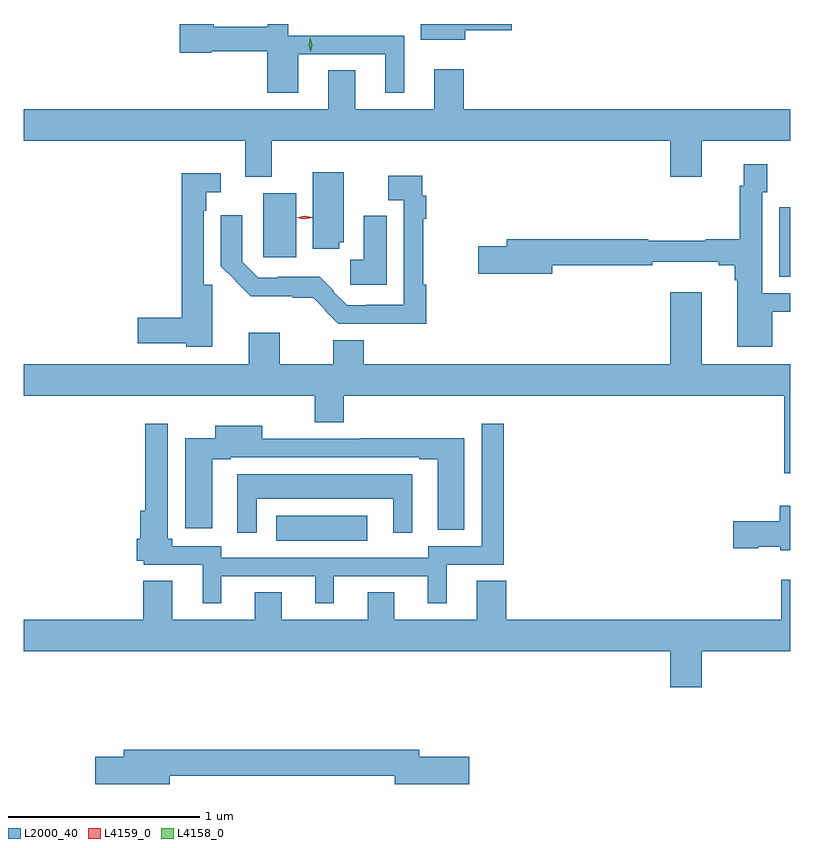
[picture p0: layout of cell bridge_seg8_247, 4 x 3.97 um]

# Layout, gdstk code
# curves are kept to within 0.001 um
import gdstk
lib = gdstk.Library(unit=1e-6, precision=1e-09)
def R(c, l, rs):  # rectangles x0, y0, x1, y1
    for r in rs: c.add(gdstk.rectangle(r[:2], r[2:], *l))
def P(c, l, *ps):  # polygons
    for p in ps: c.add(gdstk.Polygon(p, *l))
L2000_40 = (2000, 40)
L4158_0 = (4158, 0)
L4159_0 = (4159, 0)

bridge_seg8_247 = lib.new_cell('bridge_seg8_247')
R(bridge_seg8_247, L2000_40, [(282.831,1089.104,283.306,1089.235), (285.455,1090.48,285.513,1090.843)])
P(bridge_seg8_247, L2000_40, [(283.816,1091.767),(284.059,1091.767),(284.059,1091.8),(283.586,1091.8),(283.586,1091.717),(283.816,1091.717)],
  [(282.946,1091.643),(283.4,1091.643),(283.4,1091.442),(283.498,1091.442),(283.498,1091.739),(282.894,1091.739),(282.894,1091.8),(282.786,1091.8),(282.786,1091.786),(282.504,1091.786),(282.504,1091.8),(282.326,1091.8),(282.326,1091.65),(282.492,1091.65),(282.492,1091.658),(282.785,1091.658),(282.785,1091.442),(282.946,1091.442)],
  [(283.808,1091.563),(283.655,1091.563),(283.655,1091.356),(283.243,1091.356),(283.243,1091.558),(283.103,1091.558),(283.103,1091.356),(281.513,1091.356),(281.513,1091.192),(282.668,1091.192),(282.668,1091.003),(282.808,1091.003),(282.808,1091.192),(284.888,1091.192),(284.888,1091.004),(285.052,1091.004),(285.052,1091.192),(285.513,1091.192),(285.513,1091.356),(283.808,1091.356)],
  [(285.418,1090.299),(285.513,1090.299),(285.513,1090.395),(285.366,1090.395),(285.366,1090.923),(285.393,1090.923),(285.393,1091.068),(285.27,1091.068),(285.27,1090.955),(285.25,1090.955),(285.25,1090.676),(285.073,1090.676),(285.073,1090.669),(284.773,1090.669),(284.773,1090.676),(284.033,1090.676),(284.033,1090.64),(283.884,1090.64),(283.884,1090.498),(284.272,1090.498),(284.272,1090.54),(284.792,1090.54),(284.792,1090.559),(285.14,1090.559),(285.14,1090.54),(285.224,1090.54),(285.224,1090.463),(285.236,1090.463),(285.236,1090.115),(285.418,1090.115)],
  [(283.159,1090.662),(283.183,1090.662),(283.183,1091.026),(283.022,1091.026),(283.022,1090.628),(283.159,1090.628)],
  [(282.496,1090.44),(282.453,1090.44),(282.453,1090.826),(282.465,1090.826),(282.465,1090.923),(282.541,1090.923),(282.541,1091.02),(282.337,1091.02),(282.337,1090.268),(282.108,1090.268),(282.108,1090.133),(282.36,1090.133),(282.36,1090.115),(282.496,1090.115)],
  [(283.613,1090.439),(283.598,1090.439),(283.598,1090.784),(283.613,1090.784),(283.613,1090.904),(283.593,1090.904),(283.593,1091.008),(283.414,1091.008),(283.414,1090.88),(283.497,1090.88),(283.497,1090.336),(283.3,1090.336),(283.3,1090.332),(283.2,1090.332),(283.128,1090.404),(283.131,1090.407),(283.057,1090.481),(282.838,1090.481),(282.838,1090.476),(282.738,1090.476),(282.654,1090.56),(282.654,1090.801),(282.542,1090.801),(282.542,1090.536),(282.697,1090.379),(282.917,1090.379),(282.917,1090.371),(283.025,1090.371),(283.087,1090.309),(283.083,1090.305),(283.153,1090.235),(283.613,1090.235)],
  [(282.934,1090.918),(282.764,1090.918),(282.764,1090.722),(282.762,1090.722),(282.762,1090.584),(282.934,1090.584)],
  [(283.408,1090.799),(283.286,1090.799),(283.286,1090.571),(283.218,1090.571),(283.218,1090.438),(283.408,1090.438)],
  [(283.184,1089.86),(285.481,1089.86),(285.481,1089.456),(285.513,1089.456),(285.513,1090.024),(285.052,1090.024),(285.052,1090.399),(284.888,1090.399),(284.888,1090.024),(283.288,1090.024),(283.288,1090.15),(283.127,1090.15),(283.127,1090.024),(282.85,1090.024),(282.85,1090.189),(282.686,1090.189),(282.686,1090.024),(281.513,1090.024),(281.513,1089.86),(283.031,1089.86),(283.031,1089.721),(283.184,1089.721)],
  [(282.544,1088.919),(283.034,1088.919),(283.034,1088.778),(283.132,1088.778),(283.132,1088.919),(283.622,1088.919),(283.622,1088.778),(283.72,1088.778),(283.72,1088.979),(284.018,1088.979),(284.018,1089.715),(283.902,1089.715),(283.902,1089.075),(283.623,1089.075),(283.623,1089.015),(282.543,1089.015),(282.543,1089.075),(282.287,1089.075),(282.287,1089.114),(282.264,1089.114),(282.264,1089.715),(282.148,1089.715),(282.148,1089.259),(282.122,1089.259),(282.122,1089.114),(282.104,1089.114),(282.104,1089),(282.138,1089),(282.138,1088.979),(282.446,1088.979),(282.446,1088.778),(282.544,1088.778)],
  [(283.813,1089.639),(283.267,1089.639),(283.267,1089.636),(282.757,1089.636),(282.757,1089.703),(282.512,1089.703),(282.512,1089.639),(282.356,1089.639),(282.356,1089.168),(282.496,1089.168),(282.496,1089.528),(282.592,1089.528),(282.592,1089.54),(283.577,1089.54),(283.577,1089.528),(283.673,1089.528),(283.673,1089.162),(283.813,1089.162)],
  [(282.73,1089.323),(283.442,1089.323),(283.442,1089.144),(283.54,1089.144),(283.54,1089.451),(282.626,1089.451),(282.626,1089.144),(282.73,1089.144)],
  [(285.513,1089.286),(285.458,1089.286),(285.458,1089.206),(285.216,1089.206),(285.216,1089.064),(285.345,1089.064),(285.345,1089.071),(285.462,1089.071),(285.462,1089.053),(285.513,1089.053)],
  [(285.052,1088.528),(285.513,1088.528),(285.513,1088.899),(285.467,1088.899),(285.467,1088.692),(284.03,1088.692),(284.03,1088.894),(283.877,1088.894),(283.877,1088.692),(283.447,1088.692),(283.447,1088.834),(283.307,1088.834),(283.307,1088.692),(282.859,1088.692),(282.859,1088.834),(282.719,1088.834),(282.719,1088.692),(282.289,1088.692),(282.289,1088.894),(282.137,1088.894),(282.137,1088.692),(281.513,1088.692),(281.513,1088.528),(284.888,1088.528),(284.888,1088.34),(285.052,1088.34)],
  [(282.274,1087.876),(283.448,1087.876),(283.448,1087.834),(283.837,1087.834),(283.837,1087.976),(283.576,1087.976),(283.576,1088.012),(282.035,1088.012),(282.035,1087.976),(281.886,1087.976),(281.886,1087.834),(282.274,1087.834)])
P(bridge_seg8_247, L4158_0, [(283.01,1091.655),(283.01,1091.655),(282.999,1091.69),(283.007,1091.727),(283.007,1091.727),(283.008,1091.727),(283.019,1091.691),(283.01,1091.655)])
P(bridge_seg8_247, L4159_0, [(282.978,1090.78),(282.937,1090.789),(282.937,1090.789),(282.937,1090.79),(282.978,1090.8),(283.019,1090.791),(283.019,1090.79),(283.019,1090.79)])

lib.write_gds('bridge_seg8_247.gds')
